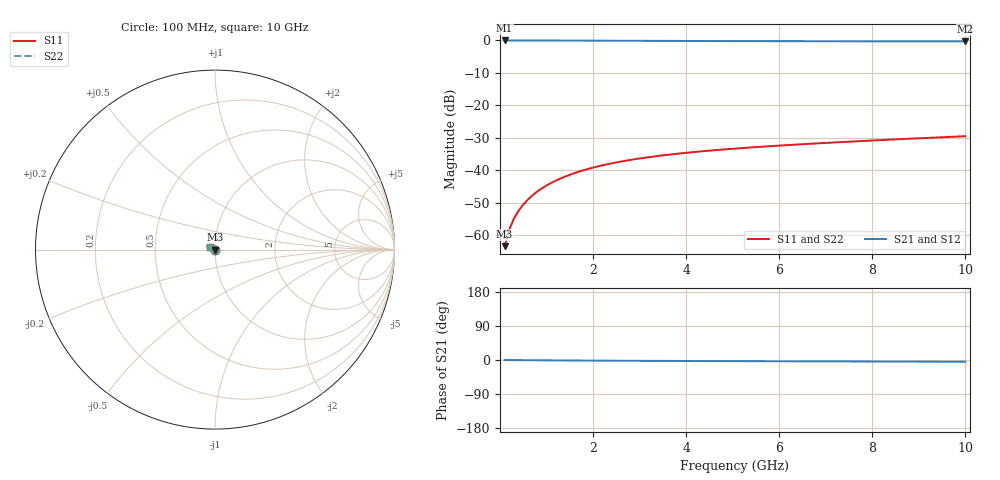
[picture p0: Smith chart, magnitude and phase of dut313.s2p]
! Touchstone file exported from HFSS 2024.1.0
!  File:  C:/UserFiles/LocalFiles/RDL_TSV_Batchsim/temp_TSV1_313_1779616201.aedt
!  Generated:  05:56:23 PM May 24, 2026
!  Design:  TSV1
!  Project:  temp_TSV1_313_1779616201
!  Setup:  Setup1
!  Solution:  Sweep
! Variables:
!  dtsv = 6.16um
!  hbump = 3um
!  htsv = 68.67um
!  lrdl = 252.1521522um
!  p = 40
!  p1 = 47.07um
!  t = 500um
!  trdl = 3um
!  wrdl = 24.89489489um
# GHz S MA R 50.000000
! Terminal data exported
! Port[1] = TSV22_T1
! Port[2] = TSV22_T2
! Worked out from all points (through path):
!   100 points, 100 MHz to 10 GHz, reference 50 ohm
!   highest |S21| = 0.00 dB at 100 MHz (marker M1); lowest = -0.3 dB at 10 GHz (marker M2)
!   lowest |S11| = -63.3 dB at 100 MHz (marker M3), VSWR 1.00, Z = 50 - j0.0605 ohm
!   |S11| at or under -10 dB: start of sweep to end of sweep
!   |S22| runs from -63.3 to -29.5 dB; largest |S21 - S12| = 4.2e-15
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0.1  0.0006835 -62.2  0.9996 -0.1  0.9996 -0.1  0.0006835 -62.2
! Gamma 0 0 0 0
! Port Impedance 50 0 50 0
0.2  0.001232 -78.3  0.9996 -0.2  0.9996 -0.2  0.001232 -78.3
0.3  0.001809 -85.7  0.9994 -0.3  0.9994 -0.3  0.001809 -85.7
0.4  0.002393 -90.5  0.9993 -0.4  0.9993 -0.4  0.002393 -90.5
0.5  0.00298 -94.2  0.9991 -0.5  0.9991 -0.5  0.00298 -94.2
0.6  0.003565 -97.4  0.9988 -0.5  0.9988 -0.5  0.003565 -97.4
0.7  0.004148 -100.2  0.9985 -0.6  0.9985 -0.6  0.004148 -100.2
0.8  0.004726 -102.8  0.9982 -0.7  0.9982 -0.7  0.004726 -102.8
0.9  0.005299 -105.2  0.9978 -0.8  0.9978 -0.8  0.005299 -105.2
1.1  0.006425 -109.8  0.997 -1.0  0.997 -1.0  0.006425 -109.8
1.4  0.008053 -116.1  0.9956 -1.2  0.9956 -1.2  0.008053 -116.1
1.6  0.009092 -120.1  0.9946 -1.4  0.9946 -1.4  0.009092 -120.1
1.8  0.01009 -124.0  0.9935 -1.5  0.9935 -1.5  0.01009 -124.0
2.1  0.01152 -129.5  0.9918 -1.7  0.9918 -1.7  0.01152 -129.5
2.5  0.01328 -136.4  0.9895 -1.9  0.9895 -1.9  0.01328 -136.4
2.9  0.01488 -142.8  0.9872 -2.1  0.9872 -2.1  0.01488 -142.8
3.4  0.01671 -150.2  0.9844 -2.4  0.9844 -2.4  0.01671 -150.2
4.2  0.01928 -160.8  0.9805 -2.7  0.9805 -2.7  0.01928 -160.8
5.1  0.02181 -171.1  0.9768 -3.0  0.9768 -3.0  0.02181 -171.1
6.7  0.0258 174.0  0.9721 -3.6  0.9721 -3.6  0.0258 174.0
8.4  0.02981 161.7  0.9687 -4.1  0.9687 -4.1  0.02981 161.7
10  0.03362 152.4  0.9663 -4.7  0.9663 -4.7  0.03362 152.4
